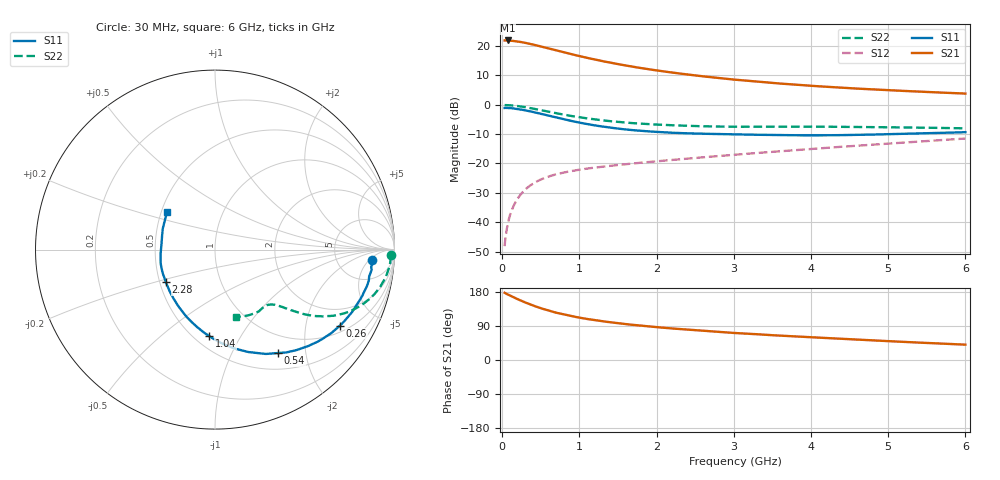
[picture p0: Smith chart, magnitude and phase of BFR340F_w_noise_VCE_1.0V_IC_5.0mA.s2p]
! Infineon Technologies  Discrete & RF Semiconductors
! BFR340F
! VCE =  1.0 V,  IC =  5.0 mA
! Common Emitter S-Parameters:  Nov 2015
# GHz  S  MA  R  50
!  f  S11  S21  S12  S22
! GHz  MAG  ANG  MAG  ANG  MAG  ANG  MAG  ANG
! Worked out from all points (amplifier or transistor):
!   206 points, 30 MHz to 6 GHz, reference 50 ohm
!   highest |S21| = 21.8 dB at 70 MHz (marker M1)
!   |S21| within 3 dB of that: start of sweep to 642.9 MHz
!   unconditionally stable (mu >= 1): 2.409 GHz to end of sweep
!   at 200 MHz: K = 0.14, MSG = 26.7 dB, |S12| = -31.9 dB
!   at 1.56 GHz: K = 0.81, MSG = 16.9 dB, |S12| = -20.4 dB
!   at 6 GHz: K = 1.01, MAG = 7.1 dB, |S12| = -11.6 dB
!   lowest NFmin = 0.95 dB at 100 MHz
!   S11 on the Smith chart (normalised r, x): 30 MHz: 12, -6; 260 MHz: 1.24, -3.12; 540 MHz: 0.72, -1.53; 1.04 GHz: 0.59, -0.74; 2.28 GHz: 0.54, -0.22; 6 GHz: 0.54, +0.26
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0.03  0.877 -3.7  12.32 177.4  0.0039 86.2  0.9817 -1.9
0.07  0.8746 -8.9  12.33 172.8  0.0092 85.4  0.9786 -4.5
0.14  0.8604 -17.3  12.12 166.2  0.0181 80.8  0.9638 -9.0
0.2  0.8393 -24.5  11.83 160.4  0.0253 77.1  0.944 -12.6
0.26  0.8151 -31.3  11.48 155.0  0.0319 73.7  0.92 -15.9
0.34  0.7777 -39.9  10.93 148.3  0.04 69.7  0.8829 -19.8
0.4  0.7475 -45.9  10.49 143.6  0.0454 67.2  0.8534 -22.4
0.48  0.7063 -53.5  9.892 137.9  0.0517 64.1  0.8136 -25.5
0.54  0.6751 -58.6  9.446 134.1  0.0558 62.1  0.7843 -27.4
0.7  0.6012 -71.8  8.348 124.7  0.0653 58.1  0.712 -31.5
0.8  0.5608 -79.0  7.721 119.9  0.07 56.5  0.6731 -33.4
0.9  0.5249 -85.6  7.173 115.6  0.0742 55.2  0.6383 -34.9
1.04  0.4818 -94.0  6.496 110.4  0.0794 54.1  0.5977 -36.5
1.22  0.4379 -104.2  5.761 104.5  0.0853 53.4  0.5547 -38.0
1.46  0.3962 -115.9  4.987 98.0  0.0926 53.3  0.5126 -39.7
1.7  0.3663 -126.4  4.383 92.5  0.0997 53.7  0.4824 -41.0
2.02  0.3417 -138.1  3.779 86.4  0.109 54.8  0.4558 -42.5
2.28  0.3283 -146.6  3.399 82.0  0.1168 55.7  0.4409 -44.0
3.1  0.3101 -167.4  2.595 70.3  0.1432 58.5  0.4193 -49.4
4.1  0.2998 173.7  2.046 59.0  0.1797 60.7  0.4211 -55.3
5.1  0.3153 156.2  1.732 48.8  0.2213 61.4  0.4094 -63.6
6  0.3393 141.6  1.539 40.5  0.2644 60.7  0.3943 -72.4
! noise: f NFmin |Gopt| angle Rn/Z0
0.1  0.95  0.54  1  0.31
0.45  1.09  0.48  3  0.33
0.9  1.1  0.48  12  0.36
1.9  1.33  0.35  18  0.33
2.4  1.45  0.32  29  0.31
